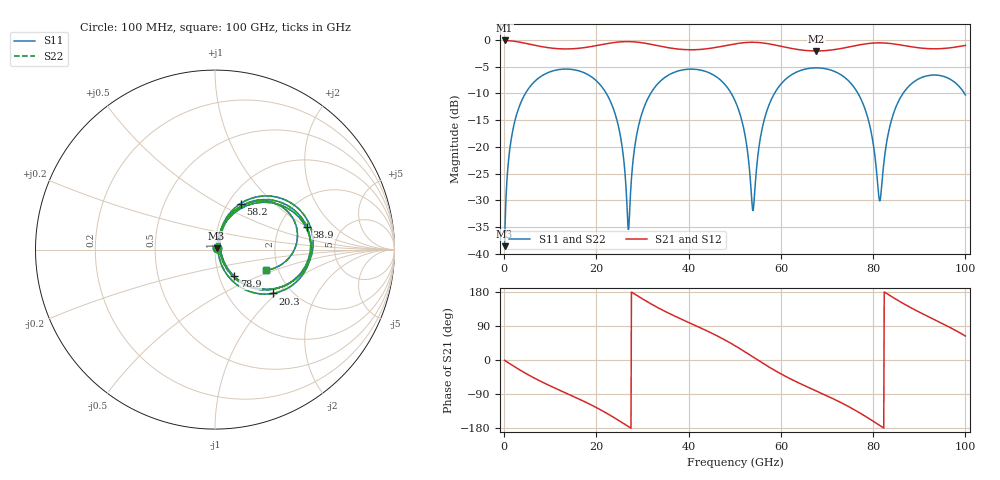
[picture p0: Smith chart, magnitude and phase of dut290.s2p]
! Touchstone file exported from HFSS 2026.1.0
!  File:  C:/ffzhzh/LocalFiles/Ansys_Project_Files/temp_train_TSV_RDL_290_1783680714_29156.aedt
!  Generated:  06:59:08 PM Jul 10, 2026
!  Design:  TSV_RDL
!  Project:  temp_train_TSV_RDL_290_1783680714_29156
! Variables:
!  h_bsmrdl = 4.9um
!  h_ox = 20um
!  h_rdl = 5um
!  h_sub = 52.3um
!  h_tmrdl = 4.18um
!  h_tsv = 52.3um
!  h_via = 3um
!  l_bsmrdl = 277.89um
!  l_sub = 2361.61um
!  l_tmrdl = 251.7um
!  m_sub = 200um
!  pitch = 51.78um
!  r_tsv = 10.44um
!  s_tmrdl = 10um
!  w_bsmrdl = 19.23um
!  w_sub = 500um
!  w_tmrdl = 21.15um
!  x_tsv_center1 = 262.275um
!  x_tsv_center2 = 559.395um
!  x_tsv_center3 = 832.245um
!  x_tsv_center4 = 1129.365um
!  x_tsv_center5 = 1402.215um
!  x_tsv_center6 = 1699.335um
# GHz S MA R 50.000000
! Terminal data exported
! Port[1] = TM_RDL1_1_T1
! Port[2] = TM_RDL5_1_T1
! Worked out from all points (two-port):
!   1000 points, 100 MHz to 100 GHz, reference 50 ohm
!   highest |S21| = -0.07 dB at 100 MHz (marker M1); lowest = -2.0 dB at 67.7 GHz (marker M2)
!   |S21| within 3 dB of the highest: start of sweep to end of sweep
!   lowest |S11| = -38.6 dB at 100 MHz (marker M3), VSWR 1.02, Z = 50.8 + j0.836 ohm
!   |S11| at or under -10 dB: 22.16 GHz to 31.75 GHz (9.588 GHz wide, 35.6 % of centre); 49.24 GHz to 58.6 GHz (9.352 GHz wide, 17.3 % of centre); 76.73 GHz to 86.47 GHz (9.74 GHz wide, 11.9 % of centre) (the widest 3 of 5)
!   |S22| runs from -38.6 to -5.2 dB; largest |S21 - S12| = 3.1e-13
!   S11 on the Smith chart (normalised r, x): 100 MHz: 1.02, +0.02; 20.3 GHz: 1.61, -0.94; 38.9 GHz: 2.83, +1.00; 58.2 GHz: 1.14, +0.64; 78.9 GHz: 1.18, -0.36; 100 GHz: 1.72, -0.44
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0.1  0.01178 44.2  0.9916 -0.8  0.9916 -0.8  0.01178 44.2
! Gamma 0 0 0 0
! Port Impedance 50 0 50 0
1.5  0.1159 72.6  0.9821 -11.9  0.9821 -11.9  0.1159 72.6
4.2  0.294 55.1  0.9403 -31.9  0.9403 -31.9  0.294 55.1
16.8  0.5051 -16.9  0.8435 -106.2  0.8435 -106.2  0.5051 -16.9
20.3  0.4037 -37.3  0.8923 -127.5  0.8923 -127.5  0.4037 -37.2
24.6  0.168 -63.6  0.9571 -157.7  0.9571 -157.7  0.1681 -63.4
26.9  0.0169 -8.0  0.9679 -175.3  0.9679 -175.3  0.01758 -7.6
29.2  0.1614 70.4  0.9527 167.1  0.9527 167.1  0.1615 70.1
33.4  0.394 45.0  0.8839 137.7  0.8839 137.7  0.394 44.9
38.9  0.5275 14.0  0.8157 105.1  0.8157 105.1  0.5275 13.9
50.1  0.2676 -48.8  0.9222 37.3  0.9222 37.3  0.2676 -49.0
52.2  0.1304 -58.4  0.9472 21.6  0.9472 21.6  0.1303 -58.7
53.9  0.02539 0.3  0.9535 8.4  0.9535 8.4  0.02494 0.2
55.8  0.1388 72.7  0.9428 -6.3  0.9428 -6.3  0.1387 72.8
58.2  0.2939 60.9  0.908 -24.2  0.908 -24.2  0.2939 60.9
66.7  0.5471 12.8  0.7925 -76.4  0.7925 -76.4  0.5471 12.7
67.7  0.5495 7.6  0.791 -81.9  0.791 -81.9  0.5495 7.5
78.9  0.183 -54.3  0.9277 -153.0  0.9277 -153.0  0.183 -54.6
81.4  0.03124 2.6  0.9419 -172.5  0.9419 -172.5  0.03043 2.3
83.4  0.1416 69.4  0.9318 172.0  0.9318 172.0  0.1413 69.6
90  0.4363 34.3  0.8451 126.4  0.8451 126.4  0.4361 34.3
100  0.3064 -22.1  0.8902 63.3  0.8902 63.3  0.3063 -22.3
